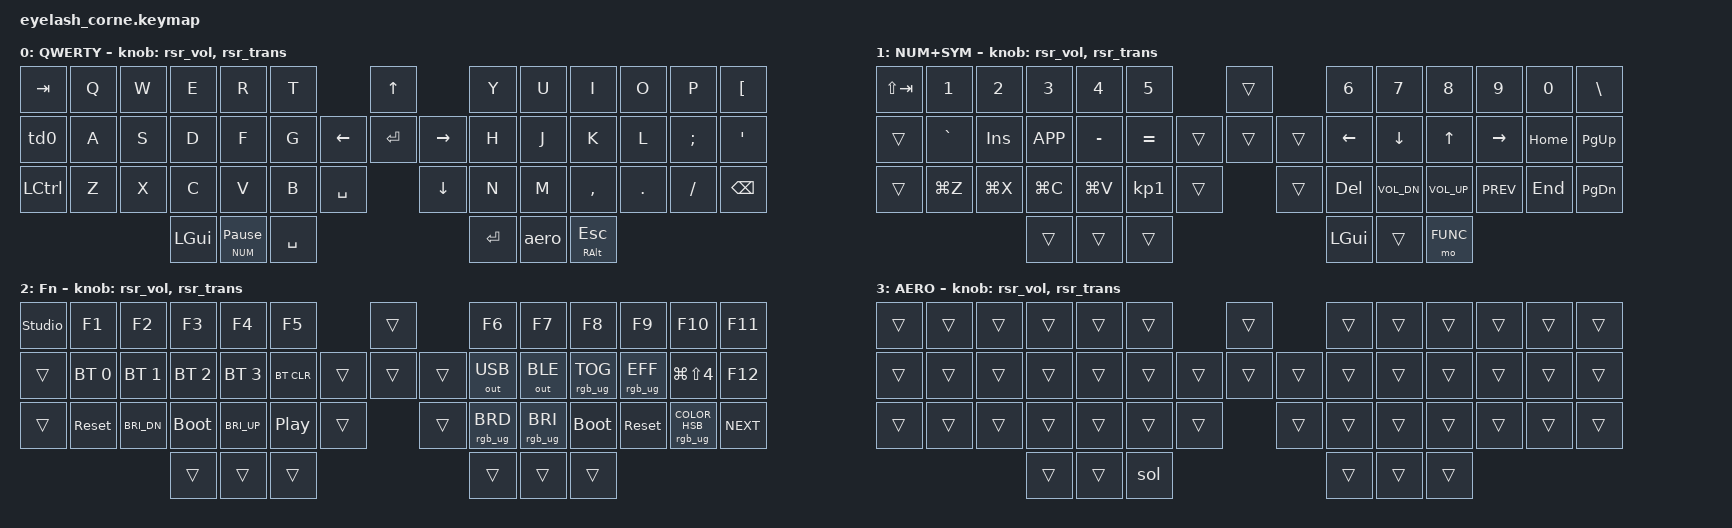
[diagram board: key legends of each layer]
#define ZMK_POINTING_DEFAULT_MOVE_VAL 1200  // 600
#define ZMK_POINTING_DEFAULT_SCRL_VAL 25   // 10

#include <input/processors.dtsi>
#include <zephyr/dt-bindings/input/input-event-codes.h>
#include <behaviors.dtsi>
#include <behaviors/runtime-sensor-rotate.dtsi>
#include <dt-bindings/zmk/bt.h>
#include <dt-bindings/zmk/keys.h>
#include <dt-bindings/zmk/outputs.h>
#include <dt-bindings/zmk/pointing.h>
#include <dt-bindings/zmk/rgb.h>

#define BASE 0
#define NUM  1
#define FUNC 2
#define AERO 3

&soft_off { hold-time-ms = <2000>; };

/ {
    behaviors {
        // Mod-tap that becomes the modifier as soon as another key is pressed while held,
        // so Cmd+Option+I and Option+click register immediately. Tap then hold = key repeat.
        hm: hm {
            compatible = "zmk,behavior-hold-tap";
            display-name = "Mod-Tap (hold-preferred)";
            #binding-cells = <2>;
            flavor = "hold-preferred";
            tapping-term-ms = <200>;
            quick-tap-ms = <200>;
            bindings = <&kp>, <&kp>;
        };

        // Left FN: tap = Pause (Karabiner toggles ABC <-> RussianWin), hold = NUM layer.
        // Balanced: the layer only wins if another key is pressed AND released while held,
        // so rolling into the next letter right after switching still counts as a tap.
        lt_hp: lt_hp {
            compatible = "zmk,behavior-hold-tap";
            display-name = "Layer-Tap (balanced)";
            #binding-cells = <2>;
            flavor = "balanced";
            tapping-term-ms = <250>;
            quick-tap-ms = <150>;
            bindings = <&mo>, <&kp>;
        };

        td0: td0 {
            compatible = "zmk,behavior-tap-dance";
            display-name = "Shift/Caps Lock Tap Dance";
            #binding-cells = <0>;
            bindings = <&kp LEFT_SHIFT>, <&kp CAPS>;
        };

        rsr_vol: rsr_vol {
            compatible = "zmk,behavior-runtime-sensor-rotate";
            #sensor-binding-cells = <0>;
            tap-ms = <5>;
            cw-binding = <&kp C_VOL_UP>;
            ccw-binding = <&kp C_VOL_DN>;
        };

        rsr_trans: rsr_trans {
            compatible = "zmk,behavior-runtime-sensor-rotate";
            #sensor-binding-cells = <0>;
            tap-ms = <0>;
        };
    };

    macros {
        // Right FN: hold = Left Option (Karabiner turns it into cmd+ctrl+alt for AeroSpace)
        // plus the AERO layer, so Right FN + Space can open Sol.
        aero: aero {
            compatible = "zmk,behavior-macro";
            display-name = "AeroSpace Hyper";
            #binding-cells = <0>;
            wait-ms = <0>;
            tap-ms = <0>;
            bindings
                = <&macro_press &mo AERO &kp LALT>
                , <&macro_pause_for_release>
                , <&macro_release &kp LALT &mo AERO>;
        };

        // In the AERO layer: release the held Left Option first and give Karabiner time
        // to drop Hyper, then tap Keypad = which Karabiner turns into Right Option + Space
        // (Karabiner output is not remapped again, so it is not Hyper even in Logic Pro,
        // where Right Option becomes Hyper) -> opens Sol.
        // Left Option is pressed again so Right FN still acts as Hyper afterwards.
        sol: sol {
            compatible = "zmk,behavior-macro";
            display-name = "Sol Launcher";
            #binding-cells = <0>;
            wait-ms = <30>;
            tap-ms = <30>;
            bindings
                = <&macro_release &kp LALT>
                , <&macro_tap &kp KP_EQUAL>
                , <&macro_press &kp LALT>;
        };
    };

    combos {
        compatible = "zmk,combos";

        softoff {
            bindings = <&soft_off>;
            key-positions = <1 15 29>;
        };

        // All six thumb keys at once = lock the Mac (Ctrl+Cmd+Q).
        // Ignored right after typing so normal thumb use never waits on it.
        lock_mac {
            bindings = <&kp LC(LG(Q))>;
            key-positions = <42 43 44 45 46 47>;
            timeout-ms = <80>;
            require-prior-idle-ms = <150>;
        };

        // Left Cmd + Left FN together (one thumb) = plain Option while held, for Option+click.
        // Sends Keypad 0, Karabiner turns it into Left Option without the Hyper remap.
        plain_option {
            bindings = <&kp KP_N0>;
            key-positions = <42 43>;
            layers = <BASE>;
            timeout-ms = <50>;
        };

        // While Left FN is held: F+D = Option+Left, J+K = Option+Right (word jumps).
        // Keypad 2 / 3, Karabiner adds Option (a firmware Left Option would become Hyper).
        word_left {
            bindings = <&kp KP_N2>;
            key-positions = <16 17>;
            layers = <NUM>;
            timeout-ms = <50>;
        };

        word_right {
            bindings = <&kp KP_N3>;
            key-positions = <23 24>;
            layers = <NUM>;
            timeout-ms = <50>;
        };

        // Home-row chords for punctuation. They send keys a Mac keyboard does not have,
        // and Karabiner types the character for the active layout (ABC or RussianWin).
        // asdf = period (Print Screen), jkl; = comma (Scroll Lock).
        // Not F13-F24: the default NKRO report cannot send them, and enabling the
        // extended report changes the HID descriptor, which breaks macOS over BLE.
        period_chord {
            bindings = <&kp PRINTSCREEN>;
            key-positions = <14 15 16 17>;
            layers = <BASE>;
            timeout-ms = <60>;
            require-prior-idle-ms = <150>;
        };

        comma_chord {
            bindings = <&kp SCROLLLOCK>;
            key-positions = <23 24 25 26>;
            layers = <BASE>;
            timeout-ms = <60>;
            require-prior-idle-ms = <150>;
        };
    };

    keymap {
        compatible = "zmk,keymap";

        default_layer {
            display-name = "QWERTY";
            bindings = <
&kp TAB    &kp Q  &kp W  &kp E     &kp R                 &kp T                               &kp UP                &kp Y      &kp U  &kp I      &kp O    &kp P     &kp LBKT
&td0       &kp A  &kp S  &kp D     &kp F                 &kp G                     &kp LEFT  &kp ENTER  &kp RIGHT  &kp H      &kp J  &kp K      &kp L    &kp SEMI  &kp SQT
&kp LCTRL  &kp Z  &kp X  &kp C     &kp V                 &kp B        &kp SPACE              &kp DOWN              &kp N      &kp M  &kp COMMA  &kp DOT  &kp FSLH  &kp BSPC
                         &kp LGUI  &lt_hp NUM PAUSE_BREAK  &kp SPACE                                               &kp ENTER  &aero  &hm RALT ESC
            >;

            sensor-bindings = <&rsr_vol &rsr_trans>;
        };

        // Right Enter thumb = Cmd here, so Cmd + number / arrow does not need the left
        // thumb on both Cmd and Left FN. Right FN stays transparent (Hyper), so
        // Left FN + Right FN + number reaches AeroSpace workspaces in any press order;
        // word jumps are the F+D / J+K chords. Left bottom row = undo / cut / copy / paste /
        // delete word (Keypad 1, Karabiner sends Option+Backspace: a firmware Left Option
        // would turn into Hyper); volume and previous track on the right bottom row.
        // Left FN + S / D = Insert / Application. Karabiner turns them into [ / ]
        // (in Obsidian also when the Russian layout is active).
        num_layer {
            display-name = "NUM+SYM";
            bindings = <
&kp LS(TAB)  &kp N1      &kp N2      &kp N3      &kp N4     &kp N5                          &trans                  &kp N6   &kp N7       &kp N8       &kp N9    &kp N0    &kp BSLH
&trans       &kp GRAVE   &kp INSERT  &kp K_APP   &kp MINUS  &kp EQUAL               &trans  &trans  &trans          &kp LEFT &kp DOWN     &kp UP       &kp RIGHT &kp HOME  &kp PG_UP
&trans       &kp LG(Z)   &kp LG(X)   &kp LG(C)   &kp LG(V)  &kp KP_N1       &trans          &trans                  &kp DEL  &kp C_VOL_DN &kp C_VOL_UP &kp C_PREV &kp END  &kp PG_DN
                                     &trans      &trans     &trans                                                  &kp LGUI &trans       &mo FUNC
            >;

            sensor-bindings = <&rsr_vol &rsr_trans>;
        };

        func_layer {
            display-name = "Fn";
            bindings = <
&studio_unlock  &kp F1        &kp F2        &kp F3        &kp F4        &kp F5                      &trans                  &kp F6        &kp F7        &kp F8          &kp F9           &kp F10         &kp F11
&trans          &bt BT_SEL 0  &bt BT_SEL 1  &bt BT_SEL 2  &bt BT_SEL 3  &bt BT_CLR          &trans  &trans  &trans          &out OUT_USB  &out OUT_BLE  &rgb_ug RGB_TOG &rgb_ug RGB_EFF  &kp LG(LS(N4))  &kp F12
&trans          &sys_reset    &kp C_BRI_DN  &bootloader   &kp C_BRI_UP  &kp C_PP    &trans          &trans                  &rgb_ug RGB_BRD &rgb_ug RGB_BRI &bootloader     &sys_reset       &rgb_ug RGB_COLOR_HSB(0,0,50) &kp C_NEXT
                                            &trans        &trans        &trans                                              &trans        &trans        &trans
            >;

            sensor-bindings = <&rsr_vol &rsr_trans>;
        };

        // Active while Right FN is held (with Left Option). Everything falls through,
        // so AeroSpace gets Hyper+key; Right FN + Space opens Sol.
        aero_layer {
            display-name = "AERO";
            bindings = <
&trans  &trans  &trans  &trans  &trans  &trans                  &trans                  &trans  &trans  &trans  &trans  &trans  &trans
&trans  &trans  &trans  &trans  &trans  &trans          &trans  &trans  &trans          &trans  &trans  &trans  &trans  &trans  &trans
&trans  &trans  &trans  &trans  &trans  &trans  &trans          &trans                  &trans  &trans  &trans  &trans  &trans  &trans
                        &trans  &trans  &sol                                                    &trans  &trans  &trans
            >;

            sensor-bindings = <&rsr_vol &rsr_trans>;
        };
    };
};
